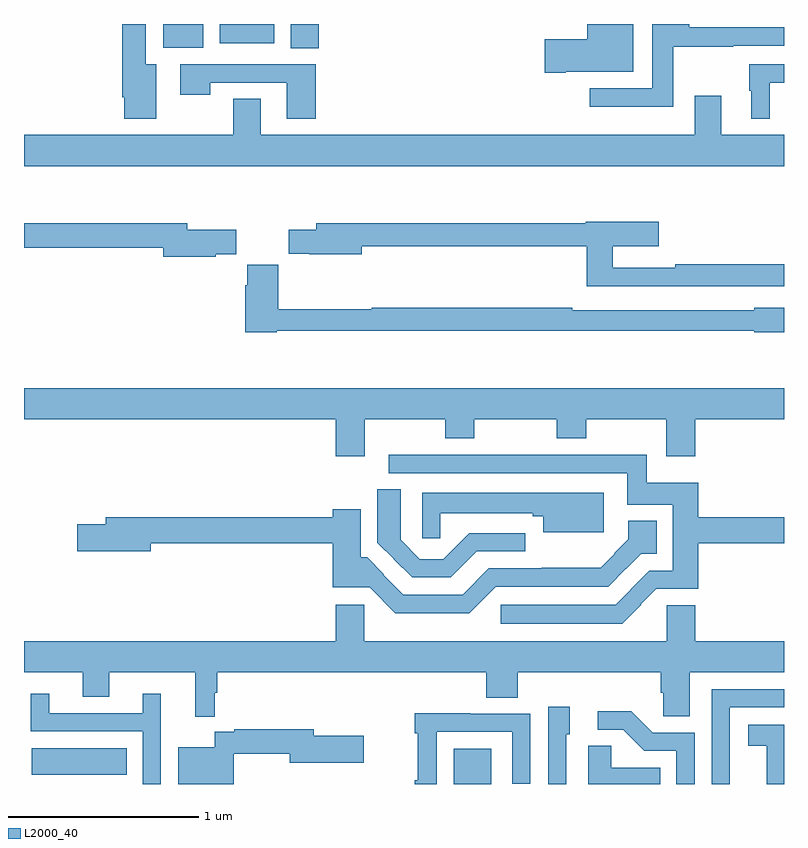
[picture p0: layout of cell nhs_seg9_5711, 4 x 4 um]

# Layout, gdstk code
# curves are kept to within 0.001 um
import gdstk
lib = gdstk.Library(unit=1e-6, precision=1e-09)
def R(c, l, rs):  # rectangles x0, y0, x1, y1
    for r in rs: c.add(gdstk.rectangle(r[:2], r[2:], *l))
def P(c, l, *ps):  # polygons
    for p in ps: c.add(gdstk.Polygon(p, *l))
L2000_40 = (2000, 40)

nhs_seg9_5711 = lib.new_cell('nhs_seg9_5711')
R(nhs_seg9_5711, L2000_40, [(445.262,1194.5,445.459,1194.685), (443.04,1194.548,443.54,1194.688), (444.404,1198.372,444.551,1198.5), (443.732,1198.376,443.944,1198.5), (444.029,1198.4,444.316,1198.5)])
P(nhs_seg9_5711, L2000_40, [(446.416,1198.381),(446.732,1198.381),(446.732,1198.386),(447,1198.386),(447,1198.482),(446.5,1198.482),(446.5,1198.5),(446.307,1198.5),(446.307,1198.161),(445.977,1198.161),(445.977,1198.064),(446.416,1198.064)],
  [(443.695,1198.288),(443.641,1198.288),(443.641,1198.5),(443.516,1198.5),(443.516,1198.114),(443.528,1198.114),(443.528,1198.002),(443.695,1198.002)],
  [(445.852,1198.25),(446.206,1198.25),(446.206,1198.5),(445.964,1198.5),(445.964,1198.421),(445.74,1198.421),(445.74,1198.243),(445.852,1198.243)],
  [(444.536,1198.287),(443.823,1198.287),(443.823,1198.128),(443.979,1198.128),(443.979,1198.191),(444.383,1198.191),(444.383,1198.002),(444.536,1198.002)],
  [(446.926,1198.191),(447,1198.191),(447,1198.287),(446.817,1198.287),(446.817,1198.148),(446.828,1198.148),(446.828,1198.001),(446.926,1198.001)],
  [(447,1197.916),(446.671,1197.916),(446.671,1198.123),(446.531,1198.123),(446.531,1197.916),(444.247,1197.916),(444.247,1198.106),(444.1,1198.106),(444.1,1197.916),(443,1197.916),(443,1197.752),(447,1197.752)],
  [(447,1197.236),(446.428,1197.236),(446.428,1197.216),(446.099,1197.216),(446.099,1197.329),(446.341,1197.329),(446.341,1197.459),(445.956,1197.459),(445.956,1197.451),(444.539,1197.451),(444.539,1197.417),(444.394,1197.417),(444.394,1197.291),(444.502,1197.291),(444.502,1197.287),(444.778,1197.287),(444.778,1197.33),(445.963,1197.33),(445.963,1197.12),(447,1197.12)],
  [(444.008,1197.287),(444.116,1197.287),(444.116,1197.417),(443.86,1197.417),(443.86,1197.451),(443,1197.451),(443,1197.322),(443.732,1197.322),(443.732,1197.275),(444.008,1197.275)],
  [(444.33,1196.886),(446.844,1196.886),(446.844,1196.878),(447,1196.878),(447,1197.007),(446.844,1197.007),(446.844,1196.994),(445.886,1196.994),(445.886,1197.007),(444.83,1197.007),(444.83,1196.999),(444.338,1196.999),(444.338,1197.233),(444.176,1197.233),(444.176,1197.125),(444.164,1197.125),(444.164,1196.878),(444.33,1196.878)],
  [(444.793,1196.42),(445.216,1196.42),(445.216,1196.321),(445.371,1196.321),(445.371,1196.42),(445.804,1196.42),(445.804,1196.321),(445.959,1196.321),(445.959,1196.42),(446.381,1196.42),(446.381,1196.226),(446.534,1196.226),(446.534,1196.42),(447,1196.42),(447,1196.584),(443,1196.584),(443,1196.42),(444.641,1196.42),(444.641,1196.226),(444.793,1196.226)],
  [(446.249,1195.444),(446.247,1195.446),(446.328,1195.527),(446.549,1195.527),(446.549,1195.768),(447,1195.768),(447,1195.904),(446.549,1195.904),(446.549,1196.086),(446.278,1196.086),(446.278,1196.234),(446.047,1196.234),(446.047,1196.232),(445.715,1196.232),(445.715,1196.234),(445.459,1196.234),(445.459,1196.232),(444.921,1196.232),(444.921,1196.136),(446.174,1196.136),(446.174,1195.97),(446.414,1195.97),(446.414,1195.623),(446.291,1195.623),(446.194,1195.526),(446.196,1195.524),(446.115,1195.443),(445.509,1195.443),(445.509,1195.343),(446.148,1195.343)],
  [(445.384,1195.725),(445.639,1195.725),(445.639,1195.821),(445.344,1195.821),(445.206,1195.683),(445.083,1195.683),(444.982,1195.785),(444.982,1196.051),(444.86,1196.051),(444.86,1195.771),(445.043,1195.587),(445.246,1195.587)],
  [(445.19,1195.925),(445.677,1195.925),(445.677,1195.91),(445.733,1195.91),(445.733,1195.826),(446.052,1195.826),(446.052,1196.032),(445.096,1196.032),(445.096,1195.794),(445.19,1195.794)],
  [(445.482,1195.539),(446.074,1195.539),(446.249,1195.712),(446.329,1195.712),(446.329,1195.885),(446.18,1195.885),(446.18,1195.787),(446.107,1195.714),(446.11,1195.711),(446.036,1195.637),(445.726,1195.637),(445.726,1195.635),(445.446,1195.635),(445.308,1195.497),(444.996,1195.497),(444.891,1195.602),(444.894,1195.605),(444.806,1195.693),(444.772,1195.693),(444.772,1195.945),(444.626,1195.945),(444.626,1195.904),(443.429,1195.904),(443.429,1195.868),(443.28,1195.868),(443.28,1195.726),(443.668,1195.726),(443.668,1195.768),(444.626,1195.768),(444.626,1195.536),(444.819,1195.536),(444.955,1195.4),(445.343,1195.4)],
  [(444.005,1194.98),(444.017,1194.98),(444.017,1195.088),(445.433,1195.088),(445.433,1194.955),(445.598,1194.955),(445.598,1195.088),(446.351,1195.088),(446.351,1194.979),(446.364,1194.979),(446.364,1194.856),(446.503,1194.856),(446.503,1195.088),(447,1195.088),(447,1195.252),(446.534,1195.252),(446.534,1195.442),(446.382,1195.442),(446.382,1195.252),(444.791,1195.252),(444.791,1195.443),(444.641,1195.443),(444.641,1195.252),(443,1195.252),(443,1195.088),(443.309,1195.088),(443.309,1194.958),(443.449,1194.958),(443.449,1195.088),(443.9,1195.088),(443.9,1194.855),(444.005,1194.855)],
  [(446.715,1194.903),(447,1194.903),(447,1194.999),(446.619,1194.999),(446.619,1194.5),(446.715,1194.5)],
  [(443.721,1194.976),(443.624,1194.976),(443.624,1194.873),(443.134,1194.873),(443.134,1194.976),(443.036,1194.976),(443.036,1194.777),(443.625,1194.777),(443.625,1194.5),(443.721,1194.5)],
  [(445.854,1194.762),(445.873,1194.762),(445.873,1194.907),(445.758,1194.907),(445.758,1194.5),(445.854,1194.5)],
  [(446.529,1194.771),(446.31,1194.771),(446.197,1194.884),(446.019,1194.884),(446.019,1194.786),(446.153,1194.786),(446.264,1194.675),(446.433,1194.675),(446.433,1194.5),(446.529,1194.5)],
  [(445.173,1194.774),(445.569,1194.774),(445.569,1194.501),(445.665,1194.501),(445.665,1194.87),(445.349,1194.87),(445.349,1194.872),(445.057,1194.872),(445.057,1194.767),(445.072,1194.767),(445.072,1194.521),(445.057,1194.521),(445.057,1194.5),(445.173,1194.5)],
  [(447,1194.811),(446.811,1194.811),(446.811,1194.701),(446.909,1194.701),(446.909,1194.5),(447,1194.5)],
  [(444.104,1194.658),(444.398,1194.658),(444.398,1194.611),(444.787,1194.611),(444.787,1194.753),(444.526,1194.753),(444.526,1194.787),(444.106,1194.787),(444.106,1194.774),(444.005,1194.774),(444.005,1194.694),(443.811,1194.694),(443.811,1194.5),(444.104,1194.5)],
  [(446.348,1194.586),(446.091,1194.586),(446.091,1194.701),(445.97,1194.701),(445.97,1194.5),(446.348,1194.5)])

lib.write_gds('nhs_seg9_5711.gds')
